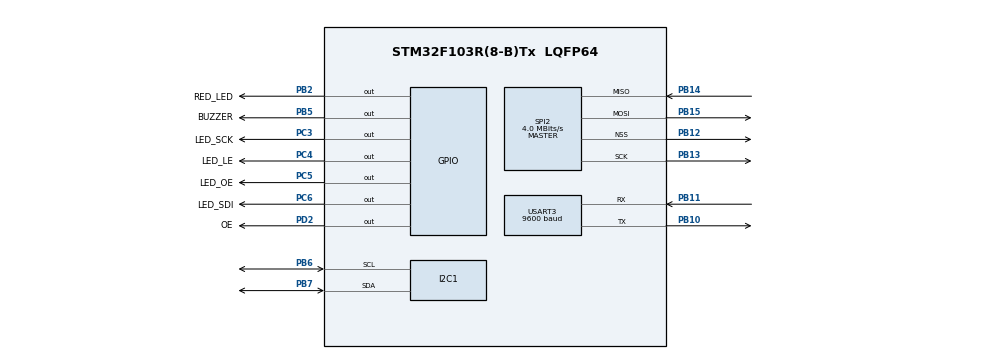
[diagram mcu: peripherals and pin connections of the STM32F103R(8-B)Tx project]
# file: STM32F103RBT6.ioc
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Mcu.Family=STM32F1
Mcu.Name=STM32F103R(8-B)Tx
Mcu.Package=LQFP64
NVIC.PriorityGroup=NVIC_PRIORITYGROUP_4
NVIC.TIM2_IRQn=true\:0\:0\:false\:false\:true\:true\:true\:true
NVIC.USART3_IRQn=true\:0\:0\:false\:false\:true\:true\:true\:true
PA13.Mode=Serial_Wire
PA13.Signal=SYS_JTMS-SWDIO
PA14.Mode=Serial_Wire
PA14.Signal=SYS_JTCK-SWCLK
PB10.Mode=Asynchronous
PB10.Signal=USART3_TX
PB11.Mode=Asynchronous
PB11.Signal=USART3_RX
PB12.Mode=NSS_Signal_Hard_Output
PB12.Signal=SPI2_NSS
PB13.Mode=Full_Duplex_Master
PB13.Signal=SPI2_SCK
PB14.Mode=Full_Duplex_Master
PB14.Signal=SPI2_MISO
PB15.Mode=Full_Duplex_Master
PB15.Signal=SPI2_MOSI
PB2.GPIO_Label=RED_LED
PB2.Signal=GPIO_Output
PB5.GPIO_Label=BUZZER
PB5.Signal=GPIO_Output
PB6.Mode=I2C
PB6.Signal=I2C1_SCL
PB7.Mode=I2C
PB7.Signal=I2C1_SDA
PC3.GPIO_Label=LED_SCK
PC3.Signal=GPIO_Output
PC4.GPIO_Label=LED_LE
PC4.Signal=GPIO_Output
PC5.GPIO_Label=LED_OE
PC5.Signal=GPIO_Output
PC6.GPIO_Label=LED_SDI
PC6.Signal=GPIO_Output
PD2.GPIO_Label=OE
PD2.Signal=GPIO_Output
ProjectManager.HeapSize=0x200
ProjectManager.StackSize=0x400
ProjectManager.TargetToolchain=STM32CubeIDE
RCC.APB1Freq_Value=8000000
RCC.APB2Freq_Value=8000000
SPI2.CalculateBaudRate=4.0 MBits/s
SPI2.Direction=SPI_DIRECTION_2LINES
SPI2.Mode=SPI_MODE_MASTER
SPI2.VirtualNSS=VM_NSSHARD
SPI2.VirtualType=VM_MASTER
TIM2.Period=9
TIM2.Prescaler=7999
USART3.BaudRate=9600
USART3.VirtualMode=VM_ASYNC
VP_TIM2_VS_ClockSourceINT.Mode=Internal
board=custom

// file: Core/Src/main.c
/* USER CODE BEGIN Header */
/**
  ******************************************************************************
  * @file           : main.c
  * @brief          : Main program body
  ******************************************************************************
  * @attention
  *
  * <h2><center>&copy; Copyright (c) 2022 STMicroelectronics.
  * All rights reserved.</center></h2>
  *
  * This software component is licensed by ST under BSD 3-Clause license,
  * the "License"; You may not use this file except in compliance with the
  * License. You may obtain a copy of the License at:
  *                        opensource.org/licenses/BSD-3-Clause
  *
  ******************************************************************************
  */
/* USER CODE END Header */
#include "main.h"

/* USER CODE BEGIN Includes */
#include "global.h"
#include "fsm.h"
/* USER CODE END Includes */

I2C_HandleTypeDef hi2c1;

SPI_HandleTypeDef hspi2;

TIM_HandleTypeDef htim2;

UART_HandleTypeDef huart3;

void SystemClock_Config(void);
static void MX_GPIO_Init(void);
static void MX_TIM2_Init(void);
static void MX_I2C1_Init(void);
static void MX_USART3_UART_Init(void);
static void MX_SPI2_Init(void);

/* USER CODE BEGIN 0 */

void HAL_UART_RxCpltCallback(UART_HandleTypeDef *huart){
	if (huart->Instance == USART3){
		HAL_UART_Transmit(&huart3, &buffer_byte, 1, 500);
		buffer[index_buffer] = buffer_byte;
		index_buffer++;
		if (index_buffer == MAX_BUFFER_SIZE) index_buffer = 0;
		buffer_flag = 1;
		HAL_UART_Receive_IT(&huart3, &buffer_byte, 1);
	}
}
/* USER CODE END 0 */

int main(void)
{

  /* MCU Configuration--------------------------------------------------------*/

  /* Reset of all peripherals, Initializes the Flash interface and the Systick. */
  HAL_Init();

  /* Configure the system clock */
  SystemClock_Config();

  /* Initialize all configured peripherals */
  MX_GPIO_Init();
  MX_TIM2_Init();
  MX_I2C1_Init();
  MX_USART3_UART_Init();
  MX_SPI2_Init();
  /* USER CODE BEGIN 2 */
  HAL_TIM_Base_Start_IT(&htim2);
  HAL_UART_Receive_IT(&huart3, &buffer_byte, 1);

  HAL_GPIO_WritePin(OE_GPIO_Port, OE_Pin, RESET);
  outputEnable();

  Lcd_Initialization();
  MC25LC512_Initialize();

  initWaitingTime();
  initVar();
  setTimer1(1);
  /* USER CODE END 2 */

  /* Infinite loop */
  /* USER CODE BEGIN WHILE */
//  uint32_t test = 0x01020304;
//  MC25LC512_Write_Words(0x0000, &test, 1);

  while (1)
  {
	if (timer1_flag == 1){
		//For testing hardware
		setTimer1(100);
	}

	fsm_run();

	if (buffer_flag == 1){
		cmd_parser_fsm();
		buffer_flag = 0;
	}

	uart_control_fsm();
    /* USER CODE END WHILE */

  }
}

void SystemClock_Config(void)
{
  RCC_OscInitTypeDef RCC_OscInitStruct = {0};
  RCC_ClkInitTypeDef RCC_ClkInitStruct = {0};

  /** Initializes the RCC Oscillators according to the specified parameters
  * in the RCC_OscInitTypeDef structure.
  */
  RCC_OscInitStruct.OscillatorType = RCC_OSCILLATORTYPE_HSI;
  RCC_OscInitStruct.HSIState = RCC_HSI_ON;
  RCC_OscInitStruct.HSICalibrationValue = RCC_HSICALIBRATION_DEFAULT;
  RCC_OscInitStruct.PLL.PLLState = RCC_PLL_NONE;
  if (HAL_RCC_OscConfig(&RCC_OscInitStruct) != HAL_OK)
  {
    Error_Handler();
  }

  /** Initializes the CPU, AHB and APB buses clocks
  */
  RCC_ClkInitStruct.ClockType = RCC_CLOCKTYPE_HCLK|RCC_CLOCKTYPE_SYSCLK
                              |RCC_CLOCKTYPE_PCLK1|RCC_CLOCKTYPE_PCLK2;
  RCC_ClkInitStruct.SYSCLKSource = RCC_SYSCLKSOURCE_HSI;
  RCC_ClkInitStruct.AHBCLKDivider = RCC_SYSCLK_DIV1;
  RCC_ClkInitStruct.APB1CLKDivider = RCC_HCLK_DIV1;
  RCC_ClkInitStruct.APB2CLKDivider = RCC_HCLK_DIV1;

  if (HAL_RCC_ClockConfig(&RCC_ClkInitStruct, FLASH_LATENCY_0) != HAL_OK)
  {
    Error_Handler();
  }
}

static void MX_I2C1_Init(void)
{

  hi2c1.Instance = I2C1;
  hi2c1.Init.ClockSpeed = 100000;
  hi2c1.Init.DutyCycle = I2C_DUTYCYCLE_2;
  hi2c1.Init.OwnAddress1 = 0;
  hi2c1.Init.AddressingMode = I2C_ADDRESSINGMODE_7BIT;
  hi2c1.Init.DualAddressMode = I2C_DUALADDRESS_DISABLE;
  hi2c1.Init.OwnAddress2 = 0;
  hi2c1.Init.GeneralCallMode = I2C_GENERALCALL_DISABLE;
  hi2c1.Init.NoStretchMode = I2C_NOSTRETCH_DISABLE;
  if (HAL_I2C_Init(&hi2c1) != HAL_OK)
  {
    Error_Handler();
  }

}

static void MX_SPI2_Init(void)
{

  /* SPI2 parameter configuration*/
  hspi2.Instance = SPI2;
  hspi2.Init.Mode = SPI_MODE_MASTER;
  hspi2.Init.Direction = SPI_DIRECTION_2LINES;
  hspi2.Init.DataSize = SPI_DATASIZE_8BIT;
  hspi2.Init.CLKPolarity = SPI_POLARITY_LOW;
  hspi2.Init.CLKPhase = SPI_PHASE_1EDGE;
  hspi2.Init.NSS = SPI_NSS_HARD_OUTPUT;
  hspi2.Init.BaudRatePrescaler = SPI_BAUDRATEPRESCALER_2;
  hspi2.Init.FirstBit = SPI_FIRSTBIT_MSB;
  hspi2.Init.TIMode = SPI_TIMODE_DISABLE;
  hspi2.Init.CRCCalculation = SPI_CRCCALCULATION_DISABLE;
  hspi2.Init.CRCPolynomial = 10;
  if (HAL_SPI_Init(&hspi2) != HAL_OK)
  {
    Error_Handler();
  }

}

static void MX_TIM2_Init(void)
{

  TIM_ClockConfigTypeDef sClockSourceConfig = {0};
  TIM_MasterConfigTypeDef sMasterConfig = {0};

  htim2.Instance = TIM2;
  htim2.Init.Prescaler = 7999;
  htim2.Init.CounterMode = TIM_COUNTERMODE_UP;
  htim2.Init.Period = 9;
  htim2.Init.ClockDivision = TIM_CLOCKDIVISION_DIV1;
  htim2.Init.AutoReloadPreload = TIM_AUTORELOAD_PRELOAD_DISABLE;
  if (HAL_TIM_Base_Init(&htim2) != HAL_OK)
  {
    Error_Handler();
  }
  sClockSourceConfig.ClockSource = TIM_CLOCKSOURCE_INTERNAL;
  if (HAL_TIM_ConfigClockSource(&htim2, &sClockSourceConfig) != HAL_OK)
  {
    Error_Handler();
  }
  sMasterConfig.MasterOutputTrigger = TIM_TRGO_RESET;
  sMasterConfig.MasterSlaveMode = TIM_MASTERSLAVEMODE_DISABLE;
  if (HAL_TIMEx_MasterConfigSynchronization(&htim2, &sMasterConfig) != HAL_OK)
  {
    Error_Handler();
  }

}

static void MX_USART3_UART_Init(void)
{

  huart3.Instance = USART3;
  huart3.Init.BaudRate = 9600;
  huart3.Init.WordLength = UART_WORDLENGTH_8B;
  huart3.Init.StopBits = UART_STOPBITS_1;
  huart3.Init.Parity = UART_PARITY_NONE;
  huart3.Init.Mode = UART_MODE_TX_RX;
  huart3.Init.HwFlowCtl = UART_HWCONTROL_NONE;
  huart3.Init.OverSampling = UART_OVERSAMPLING_16;
  if (HAL_UART_Init(&huart3) != HAL_OK)
  {
    Error_Handler();
  }

}

static void MX_GPIO_Init(void)
{
  GPIO_InitTypeDef GPIO_InitStruct = {0};

  /* GPIO Ports Clock Enable */
  __HAL_RCC_GPIOC_CLK_ENABLE();
  __HAL_RCC_GPIOB_CLK_ENABLE();
  __HAL_RCC_GPIOA_CLK_ENABLE();
  __HAL_RCC_GPIOD_CLK_ENABLE();

  /*Configure GPIO pin Output Level */
  HAL_GPIO_WritePin(GPIOC, LED_SCK_Pin|LED_LE_Pin|LED_OE_Pin|LED_SDI_Pin, GPIO_PIN_RESET);

  /*Configure GPIO pin Output Level */
  HAL_GPIO_WritePin(GPIOB, RED_LED_Pin|BUZZER_Pin, GPIO_PIN_RESET);

  /*Configure GPIO pin Output Level */
  HAL_GPIO_WritePin(OE_GPIO_Port, OE_Pin, GPIO_PIN_RESET);

  /*Configure GPIO pins : LED_SCK_Pin LED_LE_Pin LED_OE_Pin LED_SDI_Pin */
  GPIO_InitStruct.Pin = LED_SCK_Pin|LED_LE_Pin|LED_OE_Pin|LED_SDI_Pin;
  GPIO_InitStruct.Mode = GPIO_MODE_OUTPUT_PP;
  GPIO_InitStruct.Pull = GPIO_NOPULL;
  GPIO_InitStruct.Speed = GPIO_SPEED_FREQ_LOW;
  HAL_GPIO_Init(GPIOC, &GPIO_InitStruct);

  /*Configure GPIO pins : RED_LED_Pin BUZZER_Pin */
  GPIO_InitStruct.Pin = RED_LED_Pin|BUZZER_Pin;
  GPIO_InitStruct.Mode = GPIO_MODE_OUTPUT_PP;
  GPIO_InitStruct.Pull = GPIO_NOPULL;
  GPIO_InitStruct.Speed = GPIO_SPEED_FREQ_LOW;
  HAL_GPIO_Init(GPIOB, &GPIO_InitStruct);

  /*Configure GPIO pin : OE_Pin */
  GPIO_InitStruct.Pin = OE_Pin;
  GPIO_InitStruct.Mode = GPIO_MODE_OUTPUT_PP;
  GPIO_InitStruct.Pull = GPIO_NOPULL;
  GPIO_InitStruct.Speed = GPIO_SPEED_FREQ_LOW;
  HAL_GPIO_Init(OE_GPIO_Port, &GPIO_InitStruct);

}

/* USER CODE BEGIN 4 */

// Interrupt is invoked every 10ms
void HAL_TIM_PeriodElapsedCallback(TIM_HandleTypeDef *htim)
{

	/*ledBlink(50, 50);
	UpdateStatus();
	buzzerProcess();*/
	timerRun();
}

/* USER CODE END 4 */

void Error_Handler(void)
{
  __disable_irq();
  while (1)
  {
  }
}
